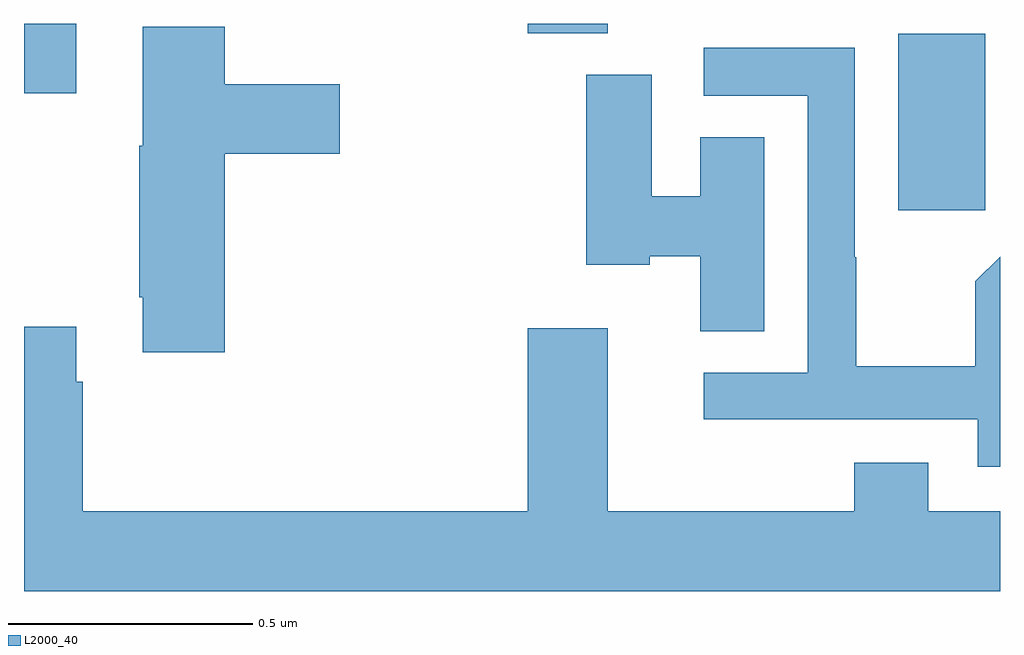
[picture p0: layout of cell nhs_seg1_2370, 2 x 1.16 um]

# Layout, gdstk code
import gdstk
lib = gdstk.Library(unit=1e-6, precision=1e-09)
def R(c, l, rs):  # rectangles x0, y0, x1, y1
    for r in rs: c.add(gdstk.rectangle(r[:2], r[2:], *l))
def P(c, l, *ps):  # polygons
    for p in ps: c.add(gdstk.Polygon(p, *l))
L2000_40 = (2000, 40)

nhs_seg1_2370 = lib.new_cell('nhs_seg1_2370')
R(nhs_seg1_2370, L2000_40, [(141.791,581.817,141.97,582.178), (140,582.057,140.107,582.199), (141.032,582.18,141.196,582.199)])
P(nhs_seg1_2370, L2000_40, [(140.411,581.933),(140.647,581.933),(140.647,582.075),(140.411,582.075),(140.411,582.193),(140.243,582.193),(140.243,581.949),(140.236,581.949),(140.236,581.638),(140.243,581.638),(140.243,581.526),(140.411,581.526)],
  [(142,581.722),(141.949,581.671),(141.949,581.497),(141.705,581.497),(141.705,581.72),(141.702,581.72),(141.702,582.15),(141.393,582.15),(141.393,582.051),(141.606,582.051),(141.606,581.484),(141.393,581.484),(141.393,581.388),(141.954,581.388),(141.954,581.291),(142,581.291)],
  [(141.517,581.966),(141.386,581.966),(141.386,581.845),(141.286,581.845),(141.286,582.094),(141.152,582.094),(141.152,581.705),(141.282,581.705),(141.282,581.723),(141.386,581.723),(141.386,581.569),(141.517,581.569)],
  [(140.107,581.465),(140.107,581.578),(140,581.578),(140,581.036),(142,581.036),(142,581.2),(141.853,581.2),(141.853,581.299),(141.701,581.299),(141.701,581.2),(141.196,581.2),(141.196,581.575),(141.032,581.575),(141.032,581.2),(140.12,581.2),(140.12,581.465)])

lib.write_gds('nhs_seg1_2370.gds')
